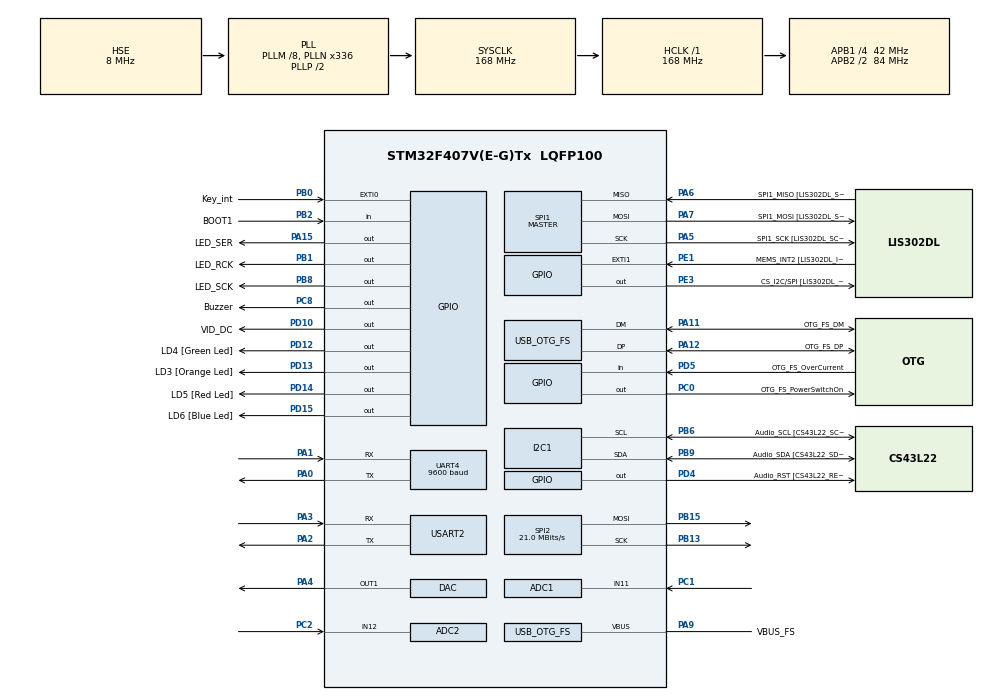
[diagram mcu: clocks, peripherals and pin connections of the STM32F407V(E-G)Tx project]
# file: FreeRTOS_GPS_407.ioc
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ADC1.Channel-0\#ChannelRegularConversion=ADC_CHANNEL_11
ADC1.NbrOfConversionFlag=1
ADC1.Rank-0\#ChannelRegularConversion=1
ADC1.SamplingTime-0\#ChannelRegularConversion=ADC_SAMPLETIME_3CYCLES
ADC1.master=1
ADC2.Channel-0\#ChannelRegularConversion=ADC_CHANNEL_11
ADC2.NbrOfConversionFlag=1
ADC2.Rank-0\#ChannelRegularConversion=1
ADC2.SamplingTime-0\#ChannelRegularConversion=ADC_SAMPLETIME_3CYCLES
FREERTOS.INCLUDE_pcTaskGetTaskName=1
FREERTOS.INCLUDE_xEventGroupSetBitFromISR=1
FREERTOS.INCLUDE_xTaskGetHandle=1
FREERTOS.Tasks01=defaultTask,24,128,StartDefaultTask,Default,NULL,Dynamic,NULL,NULL;Task1DFT,40,500,DFT,As external,NULL,Dynamic,NULL,NULL;rendering,8,500,render_task,As weak,NULL,Dynamic,NULL,NULL
FREERTOS.configTOTAL_HEAP_SIZE=15360
FREERTOS.configUSE_NEWLIB_REENTRANT=1
Mcu.Family=STM32F4
Mcu.Name=STM32F407V(E-G)Tx
Mcu.Package=LQFP100
NVIC.EXTI0_IRQn=true\:5\:0\:false\:false\:true\:true\:true\:true\:true
NVIC.OTG_FS_IRQn=true\:5\:0\:false\:false\:true\:true\:true\:true\:true
NVIC.PriorityGroup=NVIC_PRIORITYGROUP_4
NVIC.TIM1_UP_TIM10_IRQn=true\:5\:0\:false\:false\:true\:false\:false\:true\:true
NVIC.TIM3_IRQn=true\:5\:0\:true\:false\:true\:true\:true\:true\:true
NVIC.TimeBase=TIM1_UP_TIM10_IRQn
NVIC.TimeBaseIP=TIM1
NVIC.UART4_IRQn=true\:5\:0\:false\:false\:true\:true\:true\:true\:true
NVIC.USART2_IRQn=true\:5\:0\:false\:false\:true\:true\:true\:true\:true
PA0-WKUP.Mode=Asynchronous
PA0-WKUP.Signal=UART4_TX
PA1.Mode=Asynchronous
PA1.Signal=UART4_RX
PA10.GPIO_Label=OTG_FS_ID
PA10.GPIO_Mode=GPIO_MODE_AF_PP
PA10.GPIO_PuPd=GPIO_NOPULL
PA10.GPIO_Speed=GPIO_SPEED_FREQ_LOW
PA10.Signal=USB_OTG_FS_ID
PA11.GPIO_Label=OTG_FS_DM
PA11.GPIO_Mode=GPIO_MODE_AF_PP
PA11.GPIO_PuPd=GPIO_NOPULL
PA11.GPIO_Speed=GPIO_SPEED_FREQ_LOW
PA11.Mode=Host_Only
PA11.Signal=USB_OTG_FS_DM
PA12.GPIO_Label=OTG_FS_DP
PA12.GPIO_Mode=GPIO_MODE_AF_PP
PA12.GPIO_PuPd=GPIO_NOPULL
PA12.GPIO_Speed=GPIO_SPEED_FREQ_LOW
PA12.Mode=Host_Only
PA12.Signal=USB_OTG_FS_DP
PA13.GPIO_Label=SWDIO
PA13.Mode=Serial_Wire
PA13.Signal=SYS_JTMS-SWDIO
PA14.GPIO_Label=SWCLK
PA14.Mode=Serial_Wire
PA14.Signal=SYS_JTCK-SWCLK
PA15.GPIO_Label=LED_SER
PA15.Signal=GPIO_Output
PA2.Mode=Asynchronous
PA2.Signal=USART2_TX
PA3.Mode=Asynchronous
PA3.Signal=USART2_RX
PA4.Signal=COMP_DAC1_group
PA5.GPIO_Label=SPI1_SCK [LIS302DL_SCL/SPC]
PA5.GPIO_Mode=GPIO_MODE_AF_PP
PA5.GPIO_PuPd=GPIO_NOPULL
PA5.GPIO_Speed=GPIO_SPEED_FREQ_LOW
PA5.Mode=Full_Duplex_Master
PA5.Signal=SPI1_SCK
PA6.GPIO_Label=SPI1_MISO [LIS302DL_SDO]
PA6.GPIO_Mode=GPIO_MODE_AF_PP
PA6.GPIO_PuPd=GPIO_NOPULL
PA6.GPIO_Speed=GPIO_SPEED_FREQ_LOW
PA6.Mode=Full_Duplex_Master
PA6.Signal=SPI1_MISO
PA7.GPIO_Label=SPI1_MOSI [LIS302DL_SDA/SDI/SDO]
PA7.GPIO_Mode=GPIO_MODE_AF_PP
PA7.GPIO_PuPd=GPIO_NOPULL
PA7.GPIO_Speed=GPIO_SPEED_FREQ_LOW
PA7.Mode=Full_Duplex_Master
PA7.Signal=SPI1_MOSI
PA9.GPIO_Label=VBUS_FS
PA9.GPIO_Mode=GPIO_MODE_INPUT
PA9.GPIO_PuPd=GPIO_NOPULL
PA9.Mode=Activate_VBUS
PA9.Signal=USB_OTG_FS_VBUS
PB0.GPIO_Label=Key_int
PB0.Signal=GPXTI0
PB1.GPIO_Label=LED_RCK
PB1.Signal=GPIO_Output
PB10.GPIO_Label=CLK_IN [MP45DT02_CLK]
PB10.GPIO_Mode=GPIO_MODE_AF_PP
PB10.GPIO_PuPd=GPIO_NOPULL
PB10.GPIO_Speed=GPIO_SPEED_FREQ_LOW
PB10.Signal=I2S2_CK
PB13.Mode=TX_Only_Simplex_Unidirect_Master
PB13.Signal=SPI2_SCK
PB15.Mode=TX_Only_Simplex_Unidirect_Master
PB15.Signal=SPI2_MOSI
PB2.GPIO_Label=BOOT1
PB2.GPIO_Mode=GPIO_MODE_INPUT
PB2.GPIO_PuPd=GPIO_NOPULL
PB2.Signal=GPIO_Input
PB3.GPIO_Label=SWO
PB3.Signal=SYS_JTDO-SWO
PB6.GPIO_Label=Audio_SCL [CS43L22_SCL]
PB6.GPIO_Mode=GPIO_MODE_AF_OD
PB6.GPIO_Pu=GPIO_PULLUP
PB6.GPIO_PuPd=GPIO_NOPULL
PB6.GPIO_Speed=GPIO_SPEED_FREQ_LOW
PB6.Mode=I2C
PB6.Signal=I2C1_SCL
PB8.GPIO_Label=LED_SCK
PB8.Signal=GPIO_Output
PB9.GPIO_Label=Audio_SDA [CS43L22_SDA]
PB9.GPIO_Mode=GPIO_MODE_AF_OD
PB9.GPIO_Pu=GPIO_PULLUP
PB9.GPIO_PuPd=GPIO_NOPULL
PB9.GPIO_Speed=GPIO_SPEED_FREQ_LOW
PB9.Mode=I2C
PB9.Signal=I2C1_SDA
PC0.GPIO_Label=OTG_FS_PowerSwitchOn
PC0.GPIO_PuPd=GPIO_NOPULL
PC0.GPIO_Speed=GPIO_SPEED_FREQ_LOW
PC0.PinState=GPIO_PIN_SET
PC0.Signal=GPIO_Output
PC1.Signal=ADCx_IN11
PC10.GPIO_Label=I2S3_SCK [CS43L22_SCLK]
PC10.GPIO_Mode=GPIO_MODE_AF_PP
PC10.GPIO_PuPd=GPIO_NOPULL
PC10.GPIO_Speed=GPIO_SPEED_FREQ_LOW
PC10.Signal=I2S3_CK
PC12.GPIO_Label=I2S3_SD [CS43L22_SDIN]
PC12.GPIO_Mode=GPIO_MODE_AF_PP
PC12.GPIO_PuPd=GPIO_NOPULL
PC12.GPIO_Speed=GPIO_SPEED_FREQ_LOW
PC12.Signal=I2S3_SD
PC14-OSC32_IN.GPIO_Label=PC14-OSC32_IN
PC14-OSC32_IN.Mode=LSE-External-Oscillator
PC14-OSC32_IN.Signal=RCC_OSC32_IN
PC15-OSC32_OUT.GPIO_Label=PC15-OSC32_OUT
PC15-OSC32_OUT.Mode=LSE-External-Oscillator
PC15-OSC32_OUT.Signal=RCC_OSC32_OUT
PC2.Signal=ADCx_IN12
PC3.GPIO_Label=PDM_OUT [MP45DT02_DOUT]
PC3.GPIO_Mode=GPIO_MODE_AF_PP
PC3.GPIO_PuPd=GPIO_NOPULL
PC3.GPIO_Speed=GPIO_SPEED_FREQ_LOW
PC3.Signal=I2S2_SD
PC7.GPIO_Label=I2S3_MCK [CS43L22_MCLK]
PC7.GPIO_Mode=GPIO_MODE_AF_PP
PC7.GPIO_PuPd=GPIO_NOPULL
PC7.GPIO_Speed=GPIO_SPEED_FREQ_LOW
PC7.Signal=I2S3_MCK
PC8.GPIO_Label=Buzzer
PC8.Signal=GPIO_Output
PD10.GPIO_Label=VID_DC
PD10.Signal=GPIO_Output
PD12.GPIO_Label=LD4 [Green Led]
PD12.GPIO_PuPd=GPIO_NOPULL
PD12.GPIO_Speed=GPIO_SPEED_FREQ_LOW
PD12.Signal=GPIO_Output
PD13.GPIO_Label=LD3 [Orange Led]
PD13.GPIO_PuPd=GPIO_NOPULL
PD13.GPIO_Speed=GPIO_SPEED_FREQ_LOW
PD13.Signal=GPIO_Output
PD14.GPIO_Label=LD5 [Red Led]
PD14.GPIO_PuPd=GPIO_NOPULL
PD14.GPIO_Speed=GPIO_SPEED_FREQ_LOW
PD14.Signal=GPIO_Output
PD15.GPIO_Label=LD6 [Blue Led]
PD15.GPIO_PuPd=GPIO_NOPULL
PD15.GPIO_Speed=GPIO_SPEED_FREQ_LOW
PD15.Signal=GPIO_Output
PD4.GPIO_Label=Audio_RST [CS43L22_RESET]
PD4.GPIO_PuPd=GPIO_NOPULL
PD4.GPIO_Speed=GPIO_SPEED_FREQ_LOW
PD4.Signal=GPIO_Output
PD5.GPIO_Label=OTG_FS_OverCurrent
PD5.GPIO_Mode=GPIO_MODE_INPUT
PD5.GPIO_PuPd=GPIO_NOPULL
PD5.Signal=GPIO_Input
PE1.GPIO_Label=MEMS_INT2 [LIS302DL_INT2]
PE1.GPIO_ModeDefaultEXTI=GPIO_MODE_EVT_RISING
PE1.GPIO_PuPd=GPIO_NOPULL
PE1.Signal=GPXTI1
PE3.GPIO_Label=CS_I2C/SPI [LIS302DL_CS_I2C/SPI]
PE3.GPIO_PuPd=GPIO_NOPULL
PE3.GPIO_Speed=GPIO_SPEED_FREQ_LOW
PE3.Signal=GPIO_Output
PH0-OSC_IN.GPIO_Label=PH0-OSC_IN
PH0-OSC_IN.Mode=HSE-External-Oscillator
PH0-OSC_IN.Signal=RCC_OSC_IN
PH1-OSC_OUT.GPIO_Label=PH1-OSC_OUT
PH1-OSC_OUT.Mode=HSE-External-Oscillator
PH1-OSC_OUT.Signal=RCC_OSC_OUT
ProjectManager.HeapSize=0x200
ProjectManager.StackSize=0x400
ProjectManager.TargetToolchain=STM32CubeIDE
RCC.48MHZClocksFreq_Value=48000000
RCC.AHBFreq_Value=168000000
RCC.APB1CLKDivider=RCC_HCLK_DIV4
RCC.APB1Freq_Value=42000000
RCC.APB1TimFreq_Value=84000000
RCC.APB2CLKDivider=RCC_HCLK_DIV2
RCC.APB2Freq_Value=84000000
RCC.APB2TimFreq_Value=168000000
RCC.CortexFreq_Value=168000000
RCC.HCLKFreq_Value=168000000
RCC.HSE_VALUE=8000000
RCC.HSI_VALUE=16000000
RCC.PLLM=8
RCC.PLLN=336
RCC.PLLQ=7
RCC.SYSCLKFreq_VALUE=168000000
RCC.SYSCLKSource=RCC_SYSCLKSOURCE_PLLCLK
RCC.VCOOutputFreq_Value=336000000
SH.ADCx_IN11.0=ADC1_IN11,IN11
SH.ADCx_IN11.1=ADC2_IN11,IN11
SH.ADCx_IN12.0=ADC2_IN12,IN12
SH.COMP_DAC1_group.0=DAC_OUT1,DAC_OUT1
SPI1.BaudRatePrescaler-Full_Duplex_Master=SPI_BAUDRATEPRESCALER_2
SPI1.CalculateBaudRate-Full_Duplex_Master=42.0 MBits/s
SPI1.Direction=SPI_DIRECTION_2LINES
SPI1.Mode=SPI_MODE_MASTER
SPI1.Mode-Full_Duplex_Master=SPI_MODE_MASTER
SPI1.VirtualType=VM_MASTER
SPI2.CalculateBaudRate=21.0 MBits/s
SPI2.DataSize=SPI_DATASIZE_16BIT
SPI2.Direction=SPI_DIRECTION_2LINES
SPI2.Mode=SPI_MODE_MASTER
SPI2.VirtualType=VM_MASTER
TIM3.Period=40-1
TIM3.Prescaler=50-1
UART4.BaudRate=9600
UART4.VirtualMode=Asynchronous
USART2.VirtualMode=VM_ASYNC
USB_HOST.BSP.number=1
USB_HOST.USBH_HandleTypeDef-CDC_FS=hUsbHostFS
USB_HOST.VirtualModeFS=Cdc
USB_HOST0.BSP.STBoard=false
USB_HOST0.BSP.api=Unknown
USB_HOST0.BSP.instance=PC0
USB_HOST0.BSP.ip=GPIO
USB_HOST0.BSP.mode=Output
USB_HOST0.BSP.name=Drive_VBUS_FS
USB_HOST0.BSP.solution=PC0
USB_OTG_FS.VirtualMode=Host_Only
USB_OTG_FS.phy_itface=HCD_PHY_EMBEDDED
VP_FREERTOS_VS_CMSIS_V2.Mode=CMSIS_V2
VP_SYS_VS_tim1.Mode=TIM1
VP_TIM3_VS_ClockSourceINT.Mode=Internal
VP_USB_HOST_VS_USB_HOST_CDC_FS.Mode=CDC_FS
board=STM32F407G-DISC1

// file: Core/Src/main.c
/* USER CODE BEGIN Header */
/**
  ******************************************************************************
  * @file           : main.c
  * @brief          : Main program body
  ******************************************************************************
  * @attention
  *
  * Copyright (c) 2024 STMicroelectronics.
  * All rights reserved.
  *
  * This software is licensed under terms that can be found in the LICENSE file
  * in the root directory of this software component.
  * If no LICENSE file comes with this software, it is provided AS-IS.
  *
  ******************************************************************************
  */
/* USER CODE END Header */
#include "main.h"
#include "cmsis_os.h"
#include "usb_host.h"

/* USER CODE BEGIN Includes */
#include "Very_cool_simple_logging_thing/log.h"
#include "string.h"
#include "stdlib.h"

/* USER CODE END Includes */

ADC_HandleTypeDef hadc1;
ADC_HandleTypeDef hadc2;

DAC_HandleTypeDef hdac;

I2C_HandleTypeDef hi2c1;

SPI_HandleTypeDef hspi1;
SPI_HandleTypeDef hspi2;

TIM_HandleTypeDef htim3;

UART_HandleTypeDef huart4;
UART_HandleTypeDef huart2;

/* Definitions for defaultTask */
osThreadId_t defaultTaskHandle;
const osThreadAttr_t defaultTask_attributes = {
  .name = "defaultTask",
  .stack_size = 128 * 4,
  .priority = (osPriority_t) osPriorityNormal,
};
/* Definitions for Task1DFT */
osThreadId_t Task1DFTHandle;
const osThreadAttr_t Task1DFT_attributes = {
  .name = "Task1DFT",
  .stack_size = 500 * 4,
  .priority = (osPriority_t) osPriorityHigh,
};
/* Definitions for rendering */
osThreadId_t renderingHandle;
const osThreadAttr_t rendering_attributes = {
  .name = "rendering",
  .stack_size = 500 * 4,
  .priority = (osPriority_t) osPriorityLow,
};
/* USER CODE BEGIN PV */
osThreadId_t mainTaskHandle;
const osThreadAttr_t mainTask_attributes = {
  .name = "mainTask",
  .stack_size = 128 * 4,
  .priority = (osPriority_t) osPriorityNormal,
};
/* USER CODE END PV */

void SystemClock_Config(void);
static void MX_GPIO_Init(void);
static void MX_I2C1_Init(void);
static void MX_SPI1_Init(void);
static void MX_USART2_UART_Init(void);
static void MX_UART4_Init(void);
static void MX_TIM3_Init(void);
static void MX_ADC1_Init(void);
static void MX_ADC2_Init(void);
static void MX_DAC_Init(void);
static void MX_SPI2_Init(void);
void StartDefaultTask(void *argument);
extern void DFT(void *argument);
void render_task(void *argument);

/* USER CODE BEGIN 0 */
void log_out(const char *msg)
{
	HAL_UART_Transmit(&huart4, (uint8_t*)msg, strlen(msg), 500);
	HAL_UART_Transmit(&huart2, (uint8_t*)msg, strlen(msg), 500);
}

/* USER CODE END 0 */

int main(void)
{

  /* MCU Configuration--------------------------------------------------------*/

  /* Reset of all peripherals, Initializes the Flash interface and the Systick. */
  HAL_Init();

  /* Configure the system clock */
  SystemClock_Config();

  /* Initialize all configured peripherals */
  MX_GPIO_Init();
  MX_I2C1_Init();
  MX_SPI1_Init();
  MX_USART2_UART_Init();
  MX_UART4_Init();
  MX_TIM3_Init();
  MX_ADC1_Init();
  MX_ADC2_Init();
  MX_DAC_Init();
  MX_SPI2_Init();
  /* USER CODE BEGIN 2 */
  HAL_TIM_Base_Start_IT(&htim3);

  /* USER CODE END 2 */

  /* Init scheduler */
  osKernelInitialize();

  /* Create the thread(s) */
  /* creation of defaultTask */
  defaultTaskHandle = osThreadNew(StartDefaultTask, NULL, &defaultTask_attributes);

  /* creation of Task1DFT */
  Task1DFTHandle = osThreadNew(DFT, NULL, &Task1DFT_attributes);

  /* creation of rendering */
  renderingHandle = osThreadNew(render_task, NULL, &rendering_attributes);

  /* Start scheduler */
  osKernelStart();

  /* We should never get here as control is now taken by the scheduler */

  /* Infinite loop */
  while (1)
  {

  }
}

void SystemClock_Config(void)
{
  RCC_OscInitTypeDef RCC_OscInitStruct = {0};
  RCC_ClkInitTypeDef RCC_ClkInitStruct = {0};

  /** Configure the main internal regulator output voltage
  */
  __HAL_RCC_PWR_CLK_ENABLE();
  __HAL_PWR_VOLTAGESCALING_CONFIG(PWR_REGULATOR_VOLTAGE_SCALE1);

  /** Initializes the RCC Oscillators according to the specified parameters
  * in the RCC_OscInitTypeDef structure.
  */
  RCC_OscInitStruct.OscillatorType = RCC_OSCILLATORTYPE_HSE;
  RCC_OscInitStruct.HSEState = RCC_HSE_ON;
  RCC_OscInitStruct.PLL.PLLState = RCC_PLL_ON;
  RCC_OscInitStruct.PLL.PLLSource = RCC_PLLSOURCE_HSE;
  RCC_OscInitStruct.PLL.PLLM = 8;
  RCC_OscInitStruct.PLL.PLLN = 336;
  RCC_OscInitStruct.PLL.PLLP = RCC_PLLP_DIV2;
  RCC_OscInitStruct.PLL.PLLQ = 7;
  if (HAL_RCC_OscConfig(&RCC_OscInitStruct) != HAL_OK)
  {
    Error_Handler();
  }

  /** Initializes the CPU, AHB and APB buses clocks
  */
  RCC_ClkInitStruct.ClockType = RCC_CLOCKTYPE_HCLK|RCC_CLOCKTYPE_SYSCLK
                              |RCC_CLOCKTYPE_PCLK1|RCC_CLOCKTYPE_PCLK2;
  RCC_ClkInitStruct.SYSCLKSource = RCC_SYSCLKSOURCE_PLLCLK;
  RCC_ClkInitStruct.AHBCLKDivider = RCC_SYSCLK_DIV1;
  RCC_ClkInitStruct.APB1CLKDivider = RCC_HCLK_DIV4;
  RCC_ClkInitStruct.APB2CLKDivider = RCC_HCLK_DIV2;

  if (HAL_RCC_ClockConfig(&RCC_ClkInitStruct, FLASH_LATENCY_5) != HAL_OK)
  {
    Error_Handler();
  }
}

static void MX_ADC1_Init(void)
{

  ADC_ChannelConfTypeDef sConfig = {0};

  /** Configure the global features of the ADC (Clock, Resolution, Data Alignment and number of conversion)
  */
  hadc1.Instance = ADC1;
  hadc1.Init.ClockPrescaler = ADC_CLOCK_SYNC_PCLK_DIV4;
  hadc1.Init.Resolution = ADC_RESOLUTION_12B;
  hadc1.Init.ScanConvMode = DISABLE;
  hadc1.Init.ContinuousConvMode = DISABLE;
  hadc1.Init.DiscontinuousConvMode = DISABLE;
  hadc1.Init.ExternalTrigConvEdge = ADC_EXTERNALTRIGCONVEDGE_NONE;
  hadc1.Init.ExternalTrigConv = ADC_SOFTWARE_START;
  hadc1.Init.DataAlign = ADC_DATAALIGN_RIGHT;
  hadc1.Init.NbrOfConversion = 1;
  hadc1.Init.DMAContinuousRequests = DISABLE;
  hadc1.Init.EOCSelection = ADC_EOC_SINGLE_CONV;
  if (HAL_ADC_Init(&hadc1) != HAL_OK)
  {
    Error_Handler();
  }

  /** Configure for the selected ADC regular channel its corresponding rank in the sequencer and its sample time.
  */
  sConfig.Channel = ADC_CHANNEL_11;
  sConfig.Rank = 1;
  sConfig.SamplingTime = ADC_SAMPLETIME_3CYCLES;
  if (HAL_ADC_ConfigChannel(&hadc1, &sConfig) != HAL_OK)
  {
    Error_Handler();
  }

}

static void MX_ADC2_Init(void)
{

  ADC_ChannelConfTypeDef sConfig = {0};

  /** Configure the global features of the ADC (Clock, Resolution, Data Alignment and number of conversion)
  */
  hadc2.Instance = ADC2;
  hadc2.Init.ClockPrescaler = ADC_CLOCK_SYNC_PCLK_DIV4;
  hadc2.Init.Resolution = ADC_RESOLUTION_12B;
  hadc2.Init.ScanConvMode = DISABLE;
  hadc2.Init.ContinuousConvMode = DISABLE;
  hadc2.Init.DiscontinuousConvMode = DISABLE;
  hadc2.Init.ExternalTrigConvEdge = ADC_EXTERNALTRIGCONVEDGE_NONE;
  hadc2.Init.ExternalTrigConv = ADC_SOFTWARE_START;
  hadc2.Init.DataAlign = ADC_DATAALIGN_RIGHT;
  hadc2.Init.NbrOfConversion = 1;
  hadc2.Init.DMAContinuousRequests = DISABLE;
  hadc2.Init.EOCSelection = ADC_EOC_SINGLE_CONV;
  if (HAL_ADC_Init(&hadc2) != HAL_OK)
  {
    Error_Handler();
  }

  /** Configure for the selected ADC regular channel its corresponding rank in the sequencer and its sample time.
  */
  sConfig.Channel = ADC_CHANNEL_11;
  sConfig.Rank = 1;
  sConfig.SamplingTime = ADC_SAMPLETIME_3CYCLES;
  if (HAL_ADC_ConfigChannel(&hadc2, &sConfig) != HAL_OK)
  {
    Error_Handler();
  }

}

static void MX_DAC_Init(void)
{

  DAC_ChannelConfTypeDef sConfig = {0};

  /** DAC Initialization
  */
  hdac.Instance = DAC;
  if (HAL_DAC_Init(&hdac) != HAL_OK)
  {
    Error_Handler();
  }

  /** DAC channel OUT1 config
  */
  sConfig.DAC_Trigger = DAC_TRIGGER_NONE;
  sConfig.DAC_OutputBuffer = DAC_OUTPUTBUFFER_ENABLE;
  if (HAL_DAC_ConfigChannel(&hdac, &sConfig, DAC_CHANNEL_1) != HAL_OK)
  {
    Error_Handler();
  }

}

static void MX_I2C1_Init(void)
{

  hi2c1.Instance = I2C1;
  hi2c1.Init.ClockSpeed = 100000;
  hi2c1.Init.DutyCycle = I2C_DUTYCYCLE_2;
  hi2c1.Init.OwnAddress1 = 0;
  hi2c1.Init.AddressingMode = I2C_ADDRESSINGMODE_7BIT;
  hi2c1.Init.DualAddressMode = I2C_DUALADDRESS_DISABLE;
  hi2c1.Init.OwnAddress2 = 0;
  hi2c1.Init.GeneralCallMode = I2C_GENERALCALL_DISABLE;
  hi2c1.Init.NoStretchMode = I2C_NOSTRETCH_DISABLE;
  if (HAL_I2C_Init(&hi2c1) != HAL_OK)
  {
    Error_Handler();
  }

}

static void MX_SPI1_Init(void)
{

  /* SPI1 parameter configuration*/
  hspi1.Instance = SPI1;
  hspi1.Init.Mode = SPI_MODE_MASTER;
  hspi1.Init.Direction = SPI_DIRECTION_2LINES;
  hspi1.Init.DataSize = SPI_DATASIZE_8BIT;
  hspi1.Init.CLKPolarity = SPI_POLARITY_LOW;
  hspi1.Init.CLKPhase = SPI_PHASE_1EDGE;
  hspi1.Init.NSS = SPI_NSS_SOFT;
  hspi1.Init.BaudRatePrescaler = SPI_BAUDRATEPRESCALER_2;
  hspi1.Init.FirstBit = SPI_FIRSTBIT_MSB;
  hspi1.Init.TIMode = SPI_TIMODE_DISABLE;
  hspi1.Init.CRCCalculation = SPI_CRCCALCULATION_DISABLE;
  hspi1.Init.CRCPolynomial = 10;
  if (HAL_SPI_Init(&hspi1) != HAL_OK)
  {
    Error_Handler();
  }

}

static void MX_SPI2_Init(void)
{

  /* SPI2 parameter configuration*/
  hspi2.Instance = SPI2;
  hspi2.Init.Mode = SPI_MODE_MASTER;
  hspi2.Init.Direction = SPI_DIRECTION_2LINES;
  hspi2.Init.DataSize = SPI_DATASIZE_16BIT;
  hspi2.Init.CLKPolarity = SPI_POLARITY_LOW;
  hspi2.Init.CLKPhase = SPI_PHASE_1EDGE;
  hspi2.Init.NSS = SPI_NSS_SOFT;
  hspi2.Init.BaudRatePrescaler = SPI_BAUDRATEPRESCALER_2;
  hspi2.Init.FirstBit = SPI_FIRSTBIT_MSB;
  hspi2.Init.TIMode = SPI_TIMODE_DISABLE;
  hspi2.Init.CRCCalculation = SPI_CRCCALCULATION_DISABLE;
  hspi2.Init.CRCPolynomial = 10;
  if (HAL_SPI_Init(&hspi2) != HAL_OK)
  {
    Error_Handler();
  }

}

static void MX_TIM3_Init(void)
{

  TIM_ClockConfigTypeDef sClockSourceConfig = {0};
  TIM_MasterConfigTypeDef sMasterConfig = {0};

  htim3.Instance = TIM3;
  htim3.Init.Prescaler = 50-1;
  htim3.Init.CounterMode = TIM_COUNTERMODE_UP;
  htim3.Init.Period = 40-1;
  htim3.Init.ClockDivision = TIM_CLOCKDIVISION_DIV1;
  htim3.Init.AutoReloadPreload = TIM_AUTORELOAD_PRELOAD_DISABLE;
  if (HAL_TIM_Base_Init(&htim3) != HAL_OK)
  {
    Error_Handler();
  }
  sClockSourceConfig.ClockSource = TIM_CLOCKSOURCE_INTERNAL;
  if (HAL_TIM_ConfigClockSource(&htim3, &sClockSourceConfig) != HAL_OK)
  {
    Error_Handler();
  }
  sMasterConfig.MasterOutputTrigger = TIM_TRGO_RESET;
  sMasterConfig.MasterSlaveMode = TIM_MASTERSLAVEMODE_DISABLE;
  if (HAL_TIMEx_MasterConfigSynchronization(&htim3, &sMasterConfig) != HAL_OK)
  {
    Error_Handler();
  }

}

static void MX_UART4_Init(void)
{

  huart4.Instance = UART4;
  huart4.Init.BaudRate = 9600;
  huart4.Init.WordLength = UART_WORDLENGTH_8B;
  huart4.Init.StopBits = UART_STOPBITS_1;
  huart4.Init.Parity = UART_PARITY_NONE;
  huart4.Init.Mode = UART_MODE_TX_RX;
  huart4.Init.HwFlowCtl = UART_HWCONTROL_NONE;
  huart4.Init.OverSampling = UART_OVERSAMPLING_16;
  if (HAL_UART_Init(&huart4) != HAL_OK)
  {
    Error_Handler();
  }

}

static void MX_USART2_UART_Init(void)
{

  huart2.Instance = USART2;
  huart2.Init.BaudRate = 115200;
  huart2.Init.WordLength = UART_WORDLENGTH_8B;
  huart2.Init.StopBits = UART_STOPBITS_1;
  huart2.Init.Parity = UART_PARITY_NONE;
  huart2.Init.Mode = UART_MODE_TX_RX;
  huart2.Init.HwFlowCtl = UART_HWCONTROL_NONE;
  huart2.Init.OverSampling = UART_OVERSAMPLING_16;
  if (HAL_UART_Init(&huart2) != HAL_OK)
  {
    Error_Handler();
  }

}

static void MX_GPIO_Init(void)
{
  GPIO_InitTypeDef GPIO_InitStruct = {0};

  /* GPIO Ports Clock Enable */
  __HAL_RCC_GPIOE_CLK_ENABLE();
  __HAL_RCC_GPIOC_CLK_ENABLE();
  __HAL_RCC_GPIOH_CLK_ENABLE();
  __HAL_RCC_GPIOA_CLK_ENABLE();
  __HAL_RCC_GPIOB_CLK_ENABLE();
  __HAL_RCC_GPIOD_CLK_ENABLE();

  /*Configure GPIO pin Output Level */
  HAL_GPIO_WritePin(CS_I2C_SPI_GPIO_Port, CS_I2C_SPI_Pin, GPIO_PIN_RESET);

  /*Configure GPIO pin Output Level */
  HAL_GPIO_WritePin(OTG_FS_PowerSwitchOn_GPIO_Port, OTG_FS_PowerSwitchOn_Pin, GPIO_PIN_SET);

  /*Configure GPIO pin Output Level */
  HAL_GPIO_WritePin(GPIOB, LED_RCK_Pin|LED_SCK_Pin, GPIO_PIN_RESET);

  /*Configure GPIO pin Output Level */
  HAL_GPIO_WritePin(GPIOD, VID_DC_Pin|LD4_Pin|LD3_Pin|LD5_Pin
                          |LD6_Pin|Audio_RST_Pin, GPIO_PIN_RESET);

  /*Configure GPIO pin Output Level */
  HAL_GPIO_WritePin(Buzzer_GPIO_Port, Buzzer_Pin, GPIO_PIN_RESET);

  /*Configure GPIO pin Output Level */
  HAL_GPIO_WritePin(LED_SER_GPIO_Port, LED_SER_Pin, GPIO_PIN_RESET);

  /*Configure GPIO pin : CS_I2C_SPI_Pin */
  GPIO_InitStruct.Pin = CS_I2C_SPI_Pin;
  GPIO_InitStruct.Mode = GPIO_MODE_OUTPUT_PP;
  GPIO_InitStruct.Pull = GPIO_NOPULL;
  GPIO_InitStruct.Speed = GPIO_SPEED_FREQ_LOW;
  HAL_GPIO_Init(CS_I2C_SPI_GPIO_Port, &GPIO_InitStruct);

  /*Configure GPIO pins : OTG_FS_PowerSwitchOn_Pin Buzzer_Pin */
  GPIO_InitStruct.Pin = OTG_FS_PowerSwitchOn_Pin|Buzzer_Pin;
  GPIO_InitStruct.Mode = GPIO_MODE_OUTPUT_PP;
  GPIO_InitStruct.Pull = GPIO_NOPULL;
  GPIO_InitStruct.Speed = GPIO_SPEED_FREQ_LOW;
  HAL_GPIO_Init(GPIOC, &GPIO_InitStruct);

  /*Configure GPIO pin : PDM_OUT_Pin */
  GPIO_InitStruct.Pin = PDM_OUT_Pin;
  GPIO_InitStruct.Mode = GPIO_MODE_AF_PP;
  GPIO_InitStruct.Pull = GPIO_NOPULL;
  GPIO_InitStruct.Speed = GPIO_SPEED_FREQ_LOW;
  GPIO_InitStruct.Alternate = GPIO_AF5_SPI2;
  HAL_GPIO_Init(PDM_OUT_GPIO_Port, &GPIO_InitStruct);

  /*Configure GPIO pin : Key_int_Pin */
  GPIO_InitStruct.Pin = Key_int_Pin;
  GPIO_InitStruct.Mode = GPIO_MODE_IT_RISING;
  GPIO_InitStruct.Pull = GPIO_NOPULL;
  HAL_GPIO_Init(Key_int_GPIO_Port, &GPIO_InitStruct);

  /*Configure GPIO pins : LED_RCK_Pin LED_SCK_Pin */
  GPIO_InitStruct.Pin = LED_RCK_Pin|LED_SCK_Pin;
  GPIO_InitStruct.Mode = GPIO_MODE_OUTPUT_PP;
  GPIO_InitStruct.Pull = GPIO_NOPULL;
  GPIO_InitStruct.Speed = GPIO_SPEED_FREQ_LOW;
  HAL_GPIO_Init(GPIOB, &GPIO_InitStruct);

  /*Configure GPIO pin : BOOT1_Pin */
  GPIO_InitStruct.Pin = BOOT1_Pin;
  GPIO_InitStruct.Mode = GPIO_MODE_INPUT;
  GPIO_InitStruct.Pull = GPIO_NOPULL;
  HAL_GPIO_Init(BOOT1_GPIO_Port, &GPIO_InitStruct);

  /*Configure GPIO pin : CLK_IN_Pin */
  GPIO_InitStruct.Pin = CLK_IN_Pin;
  GPIO_InitStruct.Mode = GPIO_MODE_AF_PP;
  GPIO_InitStruct.Pull = GPIO_NOPULL;
  GPIO_InitStruct.Speed = GPIO_SPEED_FREQ_LOW;
  GPIO_InitStruct.Alternate = GPIO_AF5_SPI2;
  HAL_GPIO_Init(CLK_IN_GPIO_Port, &GPIO_InitStruct);

  /*Configure GPIO pins : VID_DC_Pin LD4_Pin LD3_Pin LD5_Pin
                           LD6_Pin Audio_RST_Pin */
  GPIO_InitStruct.Pin = VID_DC_Pin|LD4_Pin|LD3_Pin|LD5_Pin
                          |LD6_Pin|Audio_RST_Pin;
  GPIO_InitStruct.Mode = GPIO_MODE_OUTPUT_PP;
  GPIO_InitStruct.Pull = GPIO_NOPULL;
  GPIO_InitStruct.Speed = GPIO_SPEED_FREQ_LOW;
  HAL_GPIO_Init(GPIOD, &GPIO_InitStruct);

  /*Configure GPIO pins : I2S3_MCK_Pin I2S3_SCK_Pin I2S3_SD_Pin */
  GPIO_InitStruct.Pin = I2S3_MCK_Pin|I2S3_SCK_Pin|I2S3_SD_Pin;
  GPIO_InitStruct.Mode = GPIO_MODE_AF_PP;
  GPIO_InitStruct.Pull = GPIO_NOPULL;
  GPIO_InitStruct.Speed = GPIO_SPEED_FREQ_LOW;
  GPIO_InitStruct.Alternate = GPIO_AF6_SPI3;
  HAL_GPIO_Init(GPIOC, &GPIO_InitStruct);

  /*Configure GPIO pin : LED_SER_Pin */
  GPIO_InitStruct.Pin = LED_SER_Pin;
  GPIO_InitStruct.Mode = GPIO_MODE_OUTPUT_PP;
  GPIO_InitStruct.Pull = GPIO_NOPULL;
  GPIO_InitStruct.Speed = GPIO_SPEED_FREQ_LOW;
  HAL_GPIO_Init(LED_SER_GPIO_Port, &GPIO_InitStruct);

  /*Configure GPIO pin : OTG_FS_OverCurrent_Pin */
  GPIO_InitStruct.Pin = OTG_FS_OverCurrent_Pin;
  GPIO_InitStruct.Mode = GPIO_MODE_INPUT;
  GPIO_InitStruct.Pull = GPIO_NOPULL;
  HAL_GPIO_Init(OTG_FS_OverCurrent_GPIO_Port, &GPIO_InitStruct);

  /*Configure GPIO pin : MEMS_INT2_Pin */
  GPIO_InitStruct.Pin = MEMS_INT2_Pin;
  GPIO_InitStruct.Mode = GPIO_MODE_EVT_RISING;
  GPIO_InitStruct.Pull = GPIO_NOPULL;
  HAL_GPIO_Init(MEMS_INT2_GPIO_Port, &GPIO_InitStruct);

  /* EXTI interrupt init*/
  HAL_NVIC_SetPriority(EXTI0_IRQn, 5, 0);
  HAL_NVIC_EnableIRQ(EXTI0_IRQn);

}

/* USER CODE BEGIN 4 */
void mainTask(void *argument)
{
	int i=0;
	for(;;)
	{
		osDelay(1000);

//		for(int lvl=0;lvl<=LOG_CRITICAL;lvl++)
//		{
//			LOGF(lvl, "Log level %d", lvl);
//		}
//		LOGF(LOG_NOTICE, "End logging test\n\n", 0);

	}
}
/* USER CODE END 4 */

void StartDefaultTask(void *argument)
{
  /* init code for USB_HOST */
  MX_USB_HOST_Init();
  /* USER CODE BEGIN 5 */
  mainTaskHandle = osThreadNew(mainTask, NULL, &mainTask_attributes);
  /* Infinite loop */
  for(;;)
  {
	  osDelay(10);

  }
  /* USER CODE END 5 */
}

__weak void render_task(void *argument)
{
  for(;;)
  {
    osDelay(1);
  }
}

void HAL_TIM_PeriodElapsedCallback(TIM_HandleTypeDef *htim)
{
  if (htim->Instance == TIM1) {
    HAL_IncTick();
  }
}

void Error_Handler(void)
{
  __disable_irq();
  while (1)
  {
  }
}
